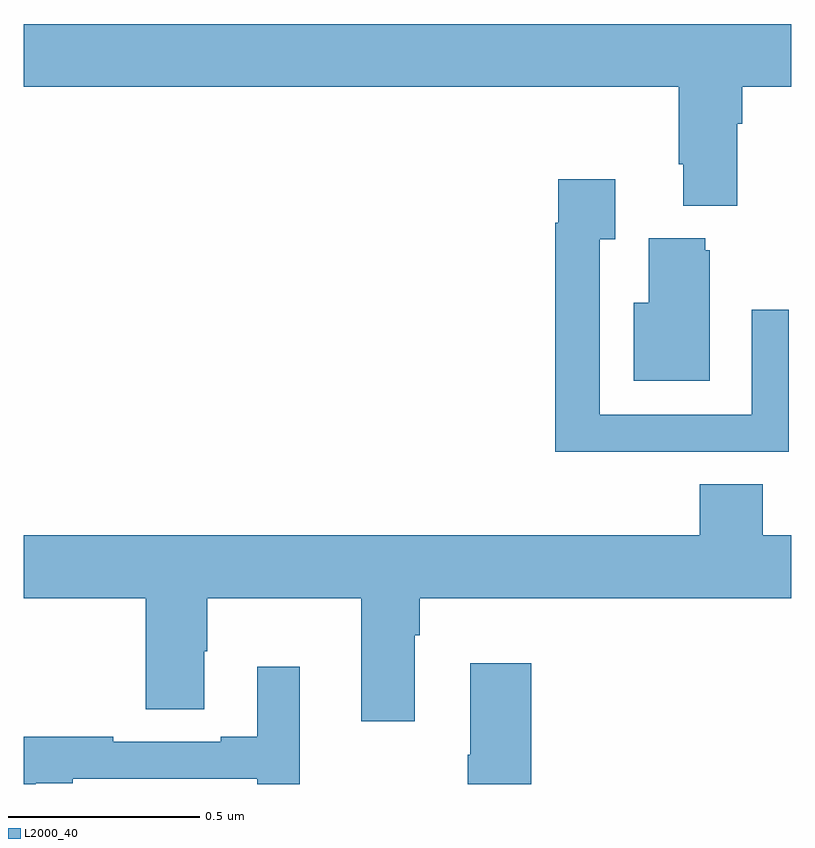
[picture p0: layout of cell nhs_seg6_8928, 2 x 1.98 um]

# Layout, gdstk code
import gdstk
lib = gdstk.Library(unit=1e-6, precision=1e-09)
def P(c, l, *ps):  # polygons
    for p in ps: c.add(gdstk.Polygon(p, *l))
L2000_40 = (2000, 40)

nhs_seg6_8928 = lib.new_cell('nhs_seg6_8928')
P(nhs_seg6_8928, L2000_40, [(228.859,967.22),(228.872,967.22),(228.872,967.316),(229,967.316),(229,967.48),(227,967.48),(227,967.316),(228.707,967.316),(228.707,967.114),(228.719,967.114),(228.719,967.007),(228.859,967.007)],
  [(228.677,966.366),(228.993,966.366),(228.993,966.736),(228.897,966.736),(228.897,966.462),(228.501,966.462),(228.501,966.919),(228.541,966.919),(228.541,967.075),(228.393,967.075),(228.393,966.962),(228.385,966.962),(228.385,966.365),(228.677,966.365)],
  [(228.787,966.891),(228.776,966.891),(228.776,966.922),(228.629,966.922),(228.629,966.754),(228.59,966.754),(228.59,966.551),(228.787,966.551)],
  [(228.019,965.888),(228.032,965.888),(228.032,965.984),(229,965.984),(229,966.148),(228.926,966.148),(228.926,966.281),(228.761,966.281),(228.761,966.148),(227,966.148),(227,965.984),(227.318,965.984),(227.318,965.695),(227.47,965.695),(227.47,965.846),(227.478,965.846),(227.478,965.984),(227.879,965.984),(227.879,965.664),(228.019,965.664)],
  [(228.323,965.815),(228.164,965.815),(228.164,965.576),(228.157,965.576),(228.157,965.5),(228.323,965.5)],
  [(227.032,965.502),(227.128,965.502),(227.128,965.514),(227.609,965.514),(227.609,965.5),(227.719,965.5),(227.719,965.806),(227.609,965.806),(227.609,965.623),(227.513,965.623),(227.513,965.61),(227.234,965.61),(227.234,965.623),(227,965.623),(227,965.5),(227.032,965.5)])

lib.write_gds('nhs_seg6_8928.gds')
